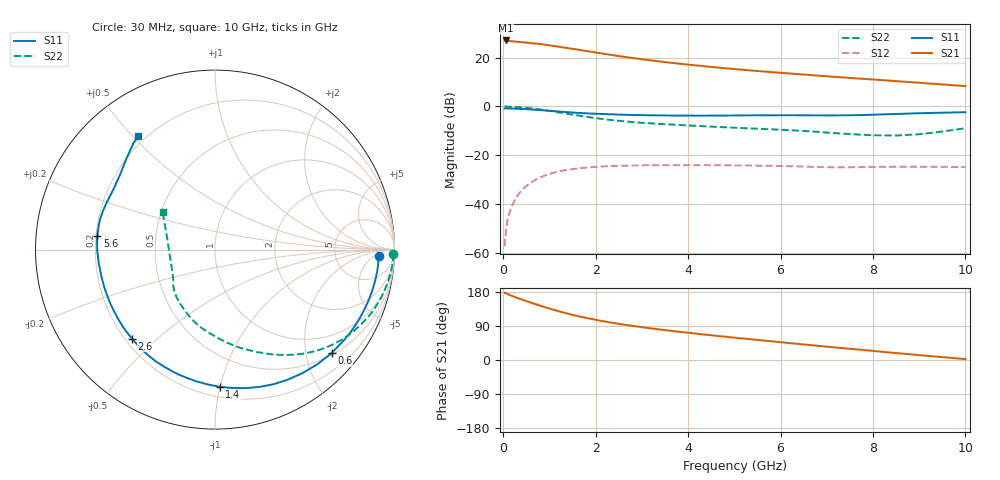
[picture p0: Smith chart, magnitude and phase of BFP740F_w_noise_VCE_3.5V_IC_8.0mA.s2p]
! Infineon Technologies  Discrete & RF Semiconductors
! BFP740F
! VCE =  3.5 V,  IC =  8.0 mA
! Common Emitter S-Parameters:  Oct 2012
# GHz  S  MA  R  50
!  f  S11  S21  S12  S22
! GHz  MAG  ANG  MAG  ANG  MAG  ANG  MAG  ANG
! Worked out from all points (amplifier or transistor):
!   99 points, 30 MHz to 10 GHz, reference 50 ohm
!   highest |S21| = 27.0 dB at 50 MHz (marker M1)
!   |S21| within 3 dB of that: start of sweep to 1.352 GHz
!   unconditionally stable (mu >= 1): 6.886 GHz to end of sweep
!   at 350 MHz: K = 0.08, MSG = 30.9 dB, |S12| = -35.4 dB
!   at 3.5 GHz: K = 0.43, MSG = 21.1 dB, |S12| = -24.0 dB
!   at 10 GHz: K = 1.29, MAG = 13.3 dB, |S12| = -24.8 dB
!   lowest NFmin = 0.42 dB at 450 MHz
!   S11 on the Smith chart (normalised r, x): 30 MHz: 19, -8; 600 MHz: 0.54, -2.53; 1.4 GHz: 0.27, -1.00; 2.6 GHz: 0.23, -0.42; 5.6 GHz: 0.21, +0.06; 10 GHz: 0.17, +0.52
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0.03  0.915 -2.2  22.12 177.2  0.0014 71.1  0.9938 -1.4
0.05  0.9134 -3.6  22.32 176.4  0.0021 72.5  0.9927 -2.4
0.12  0.9102 -8.7  21.9 172.6  0.0062 83.9  0.99 -5.8
0.3  0.8971 -21.4  21.02 164.0  0.0147 76.7  0.9703 -14.0
0.45  0.8841 -31.6  20.35 157.5  0.0216 71.6  0.9469 -20.6
0.6  0.8683 -41.6  19.69 151.3  0.028 66.0  0.9155 -27.0
0.8  0.8434 -54.6  18.86 143.2  0.0355 59.0  0.8677 -35.2
1  0.8176 -66.6  17.74 135.7  0.0419 52.5  0.8138 -42.9
1.2  0.7898 -77.8  16.62 128.6  0.0469 46.6  0.7584 -49.9
1.4  0.7648 -88.1  15.54 122.2  0.0509 41.3  0.706 -56.3
1.6  0.7414 -98.0  14.59 116.2  0.0539 36.9  0.6577 -62.3
1.7  0.7321 -102.1  14.04 113.6  0.0554 34.8  0.6358 -65.0
2.1  0.7048 -117.9  12.25 103.6  0.0593 27.5  0.5627 -76.0
2.6  0.6786 -133.0  10.38 93.6  0.0615 20.7  0.4985 -87.0
3  0.6653 -143.1  9.227 86.6  0.0625 16.7  0.4638 -94.3
3.4  0.6564 -151.9  8.288 80.4  0.063 13.2  0.4395 -100.5
4.2  0.65 -166.3  6.851 69.2  0.0631 8.1  0.4005 -110.3
5.1  0.6564 -179.8  5.707 57.8  0.0624 3.6  0.3646 -120.6
5.6  0.6593 173.3  5.215 51.8  0.0617 1.7  0.3479 -126.2
6.7  0.6584 158.0  4.344 38.7  0.0585 -1.2  0.3079 -138.9
8.5  0.7033 135.0  3.297 18.3  0.0588 -0.7  0.255 -175.7
10  0.763 124.1  2.606 2.4  0.0577 -2.5  0.359 144.3
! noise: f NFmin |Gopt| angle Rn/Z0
0.45  0.42  0.27  6  0.19
0.9  0.47  0.27  11  0.15
1.5  0.53  0.26  23  0.11
1.9  0.58  0.26  31  0.1
2.4  0.63  0.25  42  0.09
3.5  0.76  0.22  65  0.1
5.5  0.98  0.13  118  0.12
10  1.43  0.38  -121  0.08
